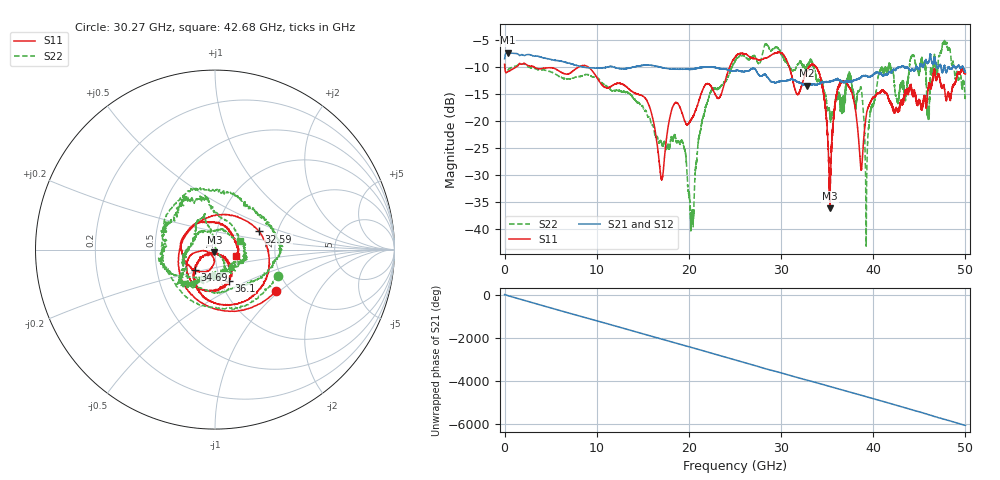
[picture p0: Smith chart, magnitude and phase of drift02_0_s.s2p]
!Created with skrf (http://scikit-rf.org).
# Hz S RI R 50.0
!freq ReS11 ImS11 ReS21 ImS21 ReS12 ImS12 ReS22 ImS22
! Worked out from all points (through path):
!   10001 points, 300 kHz to 50 GHz, reference 50 ohm
!   highest |S21| = -7.31 dB at 325.3 MHz (marker M1); lowest = -13.4 dB at 32.76 GHz (marker M2)
!   group delay of S21, straight-line fit = 335 ps
!   lowest |S11| = -36.2 dB at 35.31 GHz (marker M3), VSWR 1.03, Z = 49.7 - j1.51 ohm
!   |S11| at or under -10 dB: 3.237 GHz to 8.009 GHz (4.772 GHz wide, 84.9 % of centre); 9.1 GHz to 24.41 GHz (15.31 GHz wide, 91.4 % of centre); 33.83 GHz to end of sweep (the widest 3 of 11)
!   |S22| runs from -43.2 to -5.0 dB; largest |S21 - S12| = 0.014
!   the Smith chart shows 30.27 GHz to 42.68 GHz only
!   S11 on the Smith chart (normalised r, x): 30.27 GHz: 1.70, -0.94; 32.59 GHz: 1.60, +0.35; 34.69 GHz: 0.78, -0.18; 36.1 GHz: 1.09, -0.39; 42.68 GHz: 1.26, -0.10
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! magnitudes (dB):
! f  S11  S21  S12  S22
! 300 kHz  -9.5  -8.5  -8.4  -9.5
! 325.3 MHz  -10.9  -7.3  -7.3  -10.6
! 8.335 GHz  -9.8  -9.9  -9.9  -11.6
! 15.22 GHz  -15.7  -9.6  -9.6  -18.1
! 16.67 GHz  -26.0  -9.9  -9.9  -23.5
! 19.37 GHz  -19.1  -10.4  -10.4  -24.2
! 20.33 GHz  -19.6  -10.4  -10.4  -38.0
! 21.94 GHz  -13.1  -10.0  -10.0  -16.7
! 25 GHz  -8.1  -10.7  -10.7  -8.9
! 30.27 GHz  -7.8  -12.6  -12.6  -8.4
! 32.59 GHz  -11.5  -13.2  -13.4  -10.3
! 32.76 GHz  -10.8  -13.4  -13.4  -9.9
! 33.34 GHz  -9.6  -13.2  -13.2  -8.9
! 34.69 GHz  -16.0  -12.8  -12.7  -14.6
! 35.31 GHz  -36.2  -12.6  -12.6  -19.3
! 36.1 GHz  -14.5  -12.3  -12.2  -15.7
! 38.59 GHz  -27.4  -12.0  -12.0  -13.7
! 39.3 GHz  -18.4  -11.6  -11.6  -30.5
! 41.67 GHz  -15.9  -11.0  -11.1  -9.6
! 42.68 GHz  -18.2  -10.1  -10.0  -16.8
! 47.75 GHz  -14.1  -9.6  -9.7  -5.1
! 50 GHz  -11.2  -11.0  -10.9  -15.5
